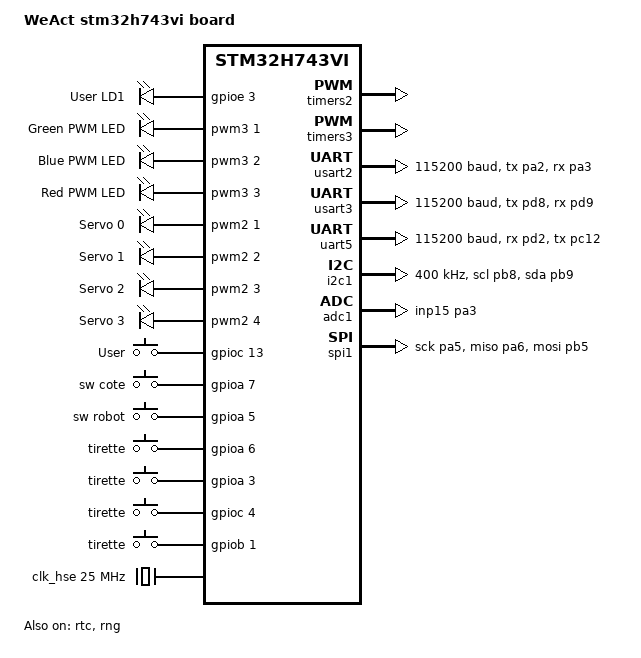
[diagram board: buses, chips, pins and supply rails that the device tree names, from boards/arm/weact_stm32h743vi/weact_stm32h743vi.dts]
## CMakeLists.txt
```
zephyr_include_directories(include)

# add_subdirectory(drivers)
```

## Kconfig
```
# nothing now, will include rsource
# rsource "drivers/Kconfig"
```

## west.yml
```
# Copyright (c) 2021 Nordic Semiconductor ASA
# SPDX-License-Identifier: Apache-2.0

manifest:
  remotes:
    - name: zephyrproject-rtos
      url-base: https://github.com/zephyrproject-rtos

  projects:
    - name: zephyr
      remote: zephyrproject-rtos
      revision: v3.6-branch
      import:
        # By using name-allowlist we can clone only the modules that are
        # strictly needed by the application.
        name-allowlist:
          - cmsis      # required by the ARM port
          - cmsis-dsp
          - hal_stm32
          - zcbor
```

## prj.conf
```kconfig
# SERIAL
CONFIG_SERIAL=y
CONFIG_LOG=y
# CONFIG_LOG_MODE_DEFERRED=y
CONFIG_LOG_MODE_IMMEDIATE=y
CONFIG_LOG_BACKEND_SHOW_COLOR=y
CONFIG_LOG_DEFAULT_LEVEL=4
CONFIG_UART_INTERRUPT_DRIVEN=y
CONFIG_LOG_BUFFER_SIZE=4096
# MATH
CONFIG_FPU=y
CONFIG_FPU_SHARING=y
CONFIG_NEWLIB_LIBC=y
CONFIG_NEWLIB_LIBC_FLOAT_PRINTF=y

CONFIG_TEST_RANDOM_GENERATOR=y

CONFIG_PWM=y
CONFIG_PWM_LOG_LEVEL_DBG=y
```

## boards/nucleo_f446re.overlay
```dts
/ {
    aliases {
        console = &usart2;
        stepper-bus = &uart5;
        camsense-uart = &usart1;
        sw-side = &button0;
        sw-robot = &button1;
        sw-tirette = &button2;
        sw-pump = &button3;
        sw-valve = &button4;
        sw-electromagnet = &button5;
        red-pwm-led = &red_pwm_led;
        green-pwm-led = &green_pwm_led;
        blue-pwm-led = &blue_pwm_led;
        servo-orientation = &servo_0;
        servo-arm = &servo_1;
        servo-dicristaline1 = &servo_2;
        servo-dicristaline2 = &servo_3;
        sw-power = &button6;
    };

    gpio_keys {
        compatible = "gpio-keys";
        button0: button_0 {
            gpios = <&gpioa 15 GPIO_ACTIVE_HIGH>;
            label = "sw cote";
        };
        button1: button_1 {
            gpios = <&gpioc 13 GPIO_ACTIVE_HIGH>;
            label = "sw robot";
        };
        button2: button_2 {
            gpios = <&gpioc 9 GPIO_ACTIVE_HIGH>;
            label = "tirette";
        };
        button3: button_3 {
            gpios = <&gpiob 3 GPIO_ACTIVE_HIGH>;
            label = "tirette";
        };
        button4: button_4 {
            gpios = <&gpiob 1 GPIO_ACTIVE_HIGH>;
            label = "tirette";
        };
        button5: button_5 {
            gpios = <&gpioc 4 GPIO_ACTIVE_HIGH>;
            label = "tirette";
        };
        button6: button_6 {
            gpios = <&gpiob 13 GPIO_ACTIVE_HIGH>;
            label = "tirette";
        };
    };

    pwmleds {
        compatible = "pwm-leds";
        green_pwm_led: green_pwm_led {
            pwms = <&pwm1 1 0 PWM_POLARITY_NORMAL>;
            label = "Green PWM LED";
            status = "okay";
        };
        blue_pwm_led: blue_pwm_led {
            pwms = <&pwm3 1 0 PWM_POLARITY_NORMAL>;
            label = "Blue PWM LED";
            status = "okay";
        };
        red_pwm_led: red_pwm_led {
            pwms = <&pwm3 2 0 PWM_POLARITY_NORMAL>;
            label = "Red PWM LED";
            status = "okay";
        };
        servo_0: servo_0 {
            pwms = <&pwm3 3 20000000 PWM_POLARITY_NORMAL>;
            label = "Servo 0";
            status = "okay";
        };
        servo_1: servo_1 {
			pwms = <&pwm2 1 20000000 PWM_POLARITY_NORMAL>;
			label = "Servo 1";
			status = "okay";
		};
        servo_2: servo_2 {
			pwms = <&pwm2 2 20000000 PWM_POLARITY_NORMAL>;
			label = "Servo 2";
			status = "okay";
		};
		servo_3: servo_3 {
			pwms = <&pwm2 3 20000000 PWM_POLARITY_NORMAL>;
			label = "Servo 3";
			status = "okay";
		};
	};
};

&timers1 {
    st,prescaler = <128>;
    status = "okay";

    pwm1: pwm {
        compatible = "st,stm32-pwm";
        status = "okay";
        pinctrl-0 = <&tim1_ch1_pa8>;
        pinctrl-names = "default";
		label = "PWMS_1";
		#pwm-cells = <3>;
    };
};

&timers2 {
    st,prescaler = <128>;
    status = "okay";

	pwm2: pwm {
        compatible = "st,stm32-pwm";
		status = "okay";
		pinctrl-0 = <&tim2_ch1_pb8 &tim2_ch2_pb9 &tim2_ch3_pb10>;
		pinctrl-names = "default";
		label = "PWMS_2";
		#pwm-cells = <3>;
	};
};

&timers3 {
    st,prescaler = <128>;
    status = "okay";

    pwm3: pwm {
        compatible = "st,stm32-pwm";
        status = "okay";
        pinctrl-0 = <&tim3_ch1_pb4 &tim3_ch2_pb5 &tim3_ch4_pc9>;
        pinctrl-names = "default";
		label = "PWMS_3";
		#pwm-cells = <3>;
    };
};

&usart1 {
    pinctrl-0 = <&usart1_tx_pa9 &usart1_rx_pa10>;
    pinctrl-names = "default";
    current-speed = <115200>;
    status = "okay";
};

&usart2 {
    status = "okay";
    current-speed = < 115200 >;
};

&uart5 {
    status = "okay";
    current-speed = < 115200 >;
    pinctrl-0 = < &uart5_rx_pd2 &uart5_tx_pc12 >;
    pinctrl-names = "default";
    // single-wire;
};

&i2c1 {
    status = "disabled";
};
```

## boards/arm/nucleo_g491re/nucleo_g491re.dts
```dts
/*
 * Copyright (c) 2019 Richard Osterloh <richard.osterloh@gmail.com>
 *
 * SPDX-License-Identifier: Apache-2.0
 */

/dts-v1/;
#include <st/g4/stm32g491Xe.dtsi>
#include <st/g4/stm32g491r(c-e)tx-pinctrl.dtsi>
#include "arduino_r3_connector.dtsi"

/ {
	model = "STMicroelectronics STM32G491RE-NUCLEO board";
	compatible = "st,stm32g491re-nucleo";

	chosen {
		zephyr,console = &lpuart1;
		zephyr,shell-uart = &lpuart1;
		zephyr,sram = &sram0;
		zephyr,flash = &flash0;
	};

	leds {
		compatible = "gpio-leds";
		green_led: led_0 {
			gpios = <&gpioa 5 GPIO_ACTIVE_HIGH>;
			label = "User LD2";
		};
	};

	pwmleds {
		compatible = "pwm-leds";

		green_pwm_led: green_pwm_led {
			pwms = <&pwm2 1 PWM_MSEC(20) PWM_POLARITY_NORMAL>;
		};
	};

	gpio_keys {
		compatible = "gpio-keys";
		user_button: button {
			label = "User";
			gpios = <&gpioc 13 GPIO_ACTIVE_LOW>;
		};
	};

	aliases {
		led0 = &green_led;
		pwm-led0 = &green_pwm_led;
		sw0 = &user_button;
	};
};

&clk_hse {
	clock-frequency = <DT_FREQ_M(24)>;
	status = "okay";
};

&pll {
	div-m = <6>;
	mul-n = <85>;
	div-p = <7>;
	div-q = <2>;
	div-r = <2>;
	clocks = <&clk_hse>;
	status = "okay";
};

&rcc {
	clocks = <&pll>;
	clock-frequency = <DT_FREQ_M(170)>;
	ahb-prescaler = <1>;
	apb1-prescaler = <1>;
	apb2-prescaler = <1>;
};

&usart1 {
	pinctrl-0 = <&usart1_tx_pc4 &usart1_rx_pc5>;
	pinctrl-names = "default";
	current-speed = <115200>;
	status = "okay";
};

&lpuart1 {
	pinctrl-0 = <&lpuart1_tx_pa2 &lpuart1_rx_pa3>;
	pinctrl-names = "default";
	current-speed = <115200>;
	status = "okay";
};

&i2c1 {
	pinctrl-0 = <&i2c1_scl_pb8 &i2c1_sda_pb9>;
	pinctrl-names = "default";
	status = "okay";
};

&spi1 {
	pinctrl-0 = <&spi1_sck_pa5 &spi1_miso_pa6 &spi1_mosi_pa7>;
	pinctrl-names = "default";
	cs-gpios = <&gpiob 6 (GPIO_ACTIVE_LOW | GPIO_PULL_UP)>;
	status = "okay";
};

&spi2 {
	pinctrl-0 = <&spi2_nss_pb12 &spi2_sck_pb13
		     &spi2_miso_pb14 &spi2_mosi_pb15>;
	pinctrl-names = "default";
	status = "okay";
};

&spi3 {
	/* SPI3 on the ST Morpho Connector CN7 pins 17, 1, 2, 3*/
	pinctrl-0 = <&spi3_nss_pa15 &spi3_sck_pc10
		     &spi3_miso_pc11 &spi3_mosi_pc12>;
	pinctrl-names = "default";
	status = "okay";
};

&timers2 {
	status = "okay";

	pwm2: pwm {
		status = "okay";
		pinctrl-0 = <&tim2_ch1_pa5>;
		pinctrl-names = "default";
	};
};

&rtc {
	status = "okay";
};

&flash0 {

	partitions {
		compatible = "fixed-partitions";
		#address-cells = <1>;
		#size-cells = <1>;

		/* Set 4Kb of storage at the end of the 128Kb of flash */
		storage_partition: partition@1f000 {
			label = "storage";
			reg = <0x0001f000 DT_SIZE_K(4)>;
		};
	};
};

&iwdg {
	status = "okay";
};

&dac1 {
	status = "okay";
	pinctrl-0 = <&dac1_out1_pa4>;
	pinctrl-names = "default";
};
```

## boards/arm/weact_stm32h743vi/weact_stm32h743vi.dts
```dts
/*
 * Copyright (c) 2020 Teslabs Engineering S.L.
 *
 * SPDX-License-Identifier: Apache-2.0
 */

/dts-v1/;
#include <st/h7/stm32h743Xi.dtsi>
#include <st/h7/stm32h743vitx-pinctrl.dtsi>

/ {
	model = "WeAct stm32h743vi board";
	compatible = "st,weact_stm32h743vi";

	chosen {
		zephyr,console = &usart3;
		zephyr,shell-uart = &usart3;
		zephyr,sram = &sram0;
		zephyr,flash = &flash0;
		zephyr,dtcm = &dtcm;
	};

	leds {
		compatible = "gpio-leds";
		blue_led: led_0 {
			gpios = <&gpioe 3 GPIO_ACTIVE_HIGH>;
			label = "User LD1";
		};
	};

	pwmleds {
		compatible = "pwm-leds";
		green_pwm_led: green_pwm_led {
			pwms = <&pwm3 1 0 PWM_POLARITY_NORMAL>;
			label = "Green PWM LED";
			status = "okay";
		};
		blue_pwm_led: blue_pwm_led {
			pwms = <&pwm3 2 0 PWM_POLARITY_NORMAL>;
			label = "Blue PWM LED";
			status = "okay";
		};
		red_pwm_led: red_pwm_led {
			pwms = <&pwm3 3 0 PWM_POLARITY_NORMAL>;
			label = "Red PWM LED";
			status = "okay";
		};
        servo_0: servo_0 {
            pwms = <&pwm2 1 20000000 PWM_POLARITY_NORMAL>;
            label = "Servo 0";
            status = "okay";
        };
        servo_1: servo_1 {
			pwms = <&pwm2 2 20000000 PWM_POLARITY_NORMAL>;
			label = "Servo 1";
			status = "okay";
		};
        servo_2: servo_2 {
			pwms = <&pwm2 3 20000000 PWM_POLARITY_NORMAL>;
			label = "Servo 2";
			status = "okay";
		};
		servo_3: servo_3 {
			pwms = <&pwm2 4 20000000 PWM_POLARITY_NORMAL>;
			label = "Servo 3";
			status = "okay";
		};
	};


    gpio_keys {
		status = "okay";
		user_button: button_user {
			label = "User";
			gpios = <&gpioc 13 GPIO_ACTIVE_HIGH>;
		};
        compatible = "gpio-keys";
        button0: button_0 {
            gpios = <&gpioa 7 GPIO_ACTIVE_HIGH>;
            label = "sw cote";
        };
        button1: button_1 {
            gpios = <&gpioa 5 GPIO_ACTIVE_HIGH>;
            label = "sw robot";
        };
        button2: button_2 {
            gpios = <&gpioa 6 GPIO_ACTIVE_HIGH>;
            label = "tirette";
        };
        button3: button_3 {
            gpios = <&gpioa 3 GPIO_ACTIVE_HIGH>;
            label = "tirette";
        };
        button4: button_4 {
            gpios = <&gpioc 4 GPIO_ACTIVE_HIGH>;
            label = "tirette";
        };
        button5: button_5 {
            gpios = <&gpiob 1 GPIO_ACTIVE_HIGH>;
            label = "tirette";
        };
    };

	aliases {
		led0 = &blue_led;
		sw0 = &user_button;
		camsense-uart = &usart2;
		stepper-bus = &uart5;
		red-pwm-led = &red_pwm_led;
		green-pwm-led = &green_pwm_led;
		blue-pwm-led = &blue_pwm_led;
		sw-cote = &button0;
        sw-robot = &button1;
        sw-tirette = &button2;
        sw-pump = &button3;
        sw-valve = &button4;
        sw-electromagnet = &button5;
		servo-orientation = &servo_0;
        servo-arm = &servo_1;
        servo-dicristaline1 = &servo_2;
        servo-dicristaline2 = &servo_3;
	};
};

&timers2 {
	st,prescaler = <0>;
    status = "okay";

	pwm2: pwm {
		status = "okay";
		pinctrl-0 = <&tim2_ch1_pa15 &tim2_ch2_pa1 &tim2_ch3_pb10 &tim2_ch4_pb11>;
		pinctrl-names = "default";
	};
};

&timers3 {
	st,prescaler = <0>;
	status = "okay";

	pwm3: pwm {
		status = "okay";
		pinctrl-0 = <&tim3_ch1_pb4 &tim3_ch2_pb5 &tim3_ch4_pc9>;
		pinctrl-names = "default";
	};
};


&clk_hse {
	clock-frequency = <DT_FREQ_M(25)>;
	status = "okay";
};

&clk_lse {
	status = "okay";
};

&pll {
	div-m = <5>;
	mul-n = <192>;
	div-p = <2>;
	div-q = <2>;
	div-r = <2>;
	clocks = <&clk_hse>;
	status = "okay";
};

&rcc {
	clocks = <&pll>;
	clock-frequency = <DT_FREQ_M(480)>;
	d1cpre = <1>;
	hpre = <2>;
	d1ppre = <2>;
	d2ppre1 = <2>;
	d2ppre2 = <2>;
	d3ppre = <2>;
};

&usart2 {
	pinctrl-0 = <&usart2_tx_pa2 &usart2_rx_pa3>;
	pinctrl-names = "default";
	current-speed = <115200>;
	status = "okay";
};


&usart3 {
	pinctrl-0 = <&usart3_tx_pd8 &usart3_rx_pd9>;
	pinctrl-names = "default";
	current-speed = <115200>;
	status = "okay";
};

&uart5 {
    status = "okay";
    current-speed = < 115200 >;
    pinctrl-0 = < &uart5_rx_pd2 &uart5_tx_pc12 >;
    pinctrl-names = "default";
    single-wire;
};

&rtc {
	status = "okay";
};

&i2c1 {
	pinctrl-0 = <&i2c1_scl_pb8 &i2c1_sda_pb9>;
	pinctrl-names = "default";
	status = "okay";
	clock-frequency = <I2C_BITRATE_FAST>;
};

&adc1 {
	pinctrl-0 = <&adc1_inp15_pa3>;
	pinctrl-names = "default";
	status = "okay";
};

&rng {
	status = "okay";
};

&spi1 {
	status = "okay";
	pinctrl-names = "default";
	pinctrl-0 = <&spi1_sck_pa5 &spi1_miso_pa6 &spi1_mosi_pb5>;
};
```

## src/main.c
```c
#include <device.h>
#include <devicetree.h>
#include <zephyr.h>

#include "control/control.h"
#include "coords.h"
#include "figurine_lifter/figurine_lifter.h"
#include "hmi/hmi_led.h"
#include "kernel.h"
#include "lidar/camsense_x1/camsense_x1.h"
#include "nav/obstacle_manager.h"
#include "nav/path_manager.h"
#include "pokarm/pokarm.h"
#include "pokibrain/pokibrain.h"
#include "shared.h"
#include "tirette/tirette.h"
#include "tmc2209/tmc2209.h"
#include "utils.h"
#include <drivers/gpio.h>
#include <logging/log.h>

LOG_MODULE_REGISTER(main);

// #error on callback before decimation check collisions

void collision_callback(bool collision) {
    if (collision) {
        LOG_INF("Collision detected");
    }
    shared_ctrl.brake = collision;
}

void end_game_callback(void) {
    LOG_INF("MATCH IS OVER");
    camsense_x1_kill();
    obstacle_manager_kill();
    shared_ctrl.brake = true;
    pokarm_up();
    figurine_lifter_up_inside();
    k_sleep(K_MSEC(100));
    k_sched_lock();
    while (1) {
    }
}

#define MAX_PATH_SIZE 1000
point2_t path[MAX_PATH_SIZE];
uint16_t path_size = 0;
void path_found_clbk(const path_node_t* node, void* user_data) {
    path_size = path_manager_retrieve_path(path, MAX_PATH_SIZE, NULL, node);
    if (path_size == 0) {
        LOG_ERR("Path not correctly retrived");
    }
}

int go_to_with_pathfinding(pos2_t end_pos) {
    LOG_INF("Lauching pathfinding");
    path_manager_config_t path_config;
    path_config.found_path_clbk = path_found_clbk;
    path_config.nb_node_optimisation = 50;
    path_size = 0;
    pos2_t start_pos;
    control_get_pos(&shared_ctrl, &start_pos);
    point2_t start;
    start.x = start_pos.x;
    start.y = start_pos.y;

    point2_t end;
    end.x = end_pos.x;
    end.y = end_pos.y;

    LOG_INF("From x:%f, y:%f |To x:%f, y:%f", start.x, start.y, end.x, end.y);

    uint8_t err = path_manager_find_path(start, end, path_config);
    if (err) {
        LOG_ERR("problem when launching pathfinding %u", err);
        return -1;
    }
    LOG_INF("Waiting for path to be found");
    for (size_t i = 0; i < 20000; i++) {
        k_sleep(K_MSEC(1));
        if (path_size != 0) {
            break;
        }
    }
    if (path_size == 0) {
        LOG_WRN("No path found");
        return -2;
    }

    LOG_INF("Path found of size %u", path_size);
    for (int16_t i = path_size - 1; i >= 0; i--) {
        pos2_t next_pos;
        next_pos.a = start_pos.a;
        next_pos.x = path[i].x;
        next_pos.y = path[i].y;
        LOG_INF("Go to point %d, x: %f, y: %f", i, next_pos.x, next_pos.y);
        control_set_target(&shared_ctrl, next_pos);
        control_task_wait_target(100.0f, M_PI / 4.0f, 10000);
    }
    control_task_wait_target(CONTROL_PLANAR_TARGET_SENSITIVITY_DEFAULT,
        CONTROL_ANGULAR_TARGET_SENSITIVITY_DEFAULT, 10000);
    return 0;
}


void match_init() {
    LOG_INF("MATCH INIT");
    // hmi_led_init();
    // hmi_led_error();
    static const struct gpio_dt_spec led =
        GPIO_DT_SPEC_GET(DT_ALIAS(led0), gpios);
    static const struct gpio_dt_spec sw_side =
        GPIO_DT_SPEC_GET(DT_ALIAS(sw_side), gpios);
    static const struct gpio_dt_spec sw_power =
        GPIO_DT_SPEC_GET(DT_ALIAS(sw_power), gpios);
        
    obstacle_manager_init(collision_callback);
    int ret = gpio_pin_configure_dt(&led, GPIO_OUTPUT_ACTIVE);
    if (ret < 0) {
        LOG_ERR("failed to init led");
        goto exit;
    }
    ret = gpio_pin_configure_dt(&sw_power, GPIO_INPUT);
    if (ret < 0) {
        LOG_ERR("failed to init led");
        goto exit;
    }
    if (shared_init()) {
        LOG_ERR("failed to init shared objects");
        ret = -1;
        goto exit;
    }
    if (tirette_init()) {
        LOG_ERR("failed to init tirette");
        ret = -1;
        goto exit;
    }
    if (pokarm_init()) {
        LOG_ERR("failed to init pokarm");
        ret = -1;
        goto exit;
    }
    if (figurine_lifter_init()) {
        LOG_ERR("failed to init figurine_lifter");
        ret = -1;
        goto exit;
    }
    if (!device_is_ready(led.port)) {
        LOG_ERR("failed to init led");
        goto exit;
    }
    pokarm_up();
    figurine_lifter_up_inside();
    pokibrain_init(NULL, 0, NULL, end_game_callback);
    LOG_INF("MATCH INIT DONE");
exit:
    return;
}

void match_wait_start() {
    LOG_INF("MATCH WAIT FOR TASKS AND POWER");
    static const struct gpio_dt_spec led =
        GPIO_DT_SPEC_GET(DT_ALIAS(led0), gpios);
    static const struct gpio_dt_spec sw_side =
        GPIO_DT_SPEC_GET(DT_ALIAS(sw_side), gpios);
    static const struct gpio_dt_spec sw_power =
        GPIO_DT_SPEC_GET(DT_ALIAS(sw_power), gpios);
    while (!gpio_pin_get_dt(&sw_power))
    {
        k_sleep(K_MSEC(1));
    }
    LOG_INF("POWER IS UP!");
    shared_ctrl.start_init = true;

    LOG_INF("MATCH WAIT FOR TASKS");
    control_task_wait_ready();

    k_sleep(K_MSEC(500));
    hmi_led_success();

    LOG_INF("MATCH WAIT FOR STARTER KEY");
    tirette_wait_until_released();
}

void match_1() {
    LOG_INF("MATCH INIT");
    // hmi_led_init();
    // hmi_led_error();
    static const struct gpio_dt_spec led =
        GPIO_DT_SPEC_GET(DT_ALIAS(led0), gpios);
    static const struct gpio_dt_spec sw_side =
        GPIO_DT_SPEC_GET(DT_ALIAS(sw_side), gpios);
    static const struct gpio_dt_spec sw_power =
        GPIO_DT_SPEC_GET(DT_ALIAS(sw_power), gpios);

    obstacle_manager_init(collision_callback);
    int ret = gpio_pin_configure_dt(&led, GPIO_OUTPUT_ACTIVE);
    if (ret < 0) {
        LOG_ERR("failed to init led");
        goto exit;
    }
    ret = gpio_pin_configure_dt(&sw_power, GPIO_INPUT);
    if (ret < 0) {
        LOG_ERR("failed to init led");
        goto exit;
    }
    if (shared_init()) {
        LOG_ERR("failed to init shared objects");
        ret = -1;
        goto exit;
    }
    if (tirette_init()) {
        LOG_ERR("failed to init tirette");
        ret = -1;
        goto exit;
    }
    if (pokarm_init()) {
        LOG_ERR("failed to init pokarm");
        ret = -1;
        goto exit;
    }
    if (figurine_lifter_init()) {
        LOG_ERR("failed to init figurine_lifter");
        ret = -1;
        goto exit;
    }
    if (!device_is_ready(led.port)) {
        LOG_ERR("failed to init led");
        goto exit;
    }
    pokarm_up();
    figurine_lifter_up_inside();
    pokibrain_init(NULL, 0, NULL, end_game_callback);
    LOG_INF("MATCH INIT DONE");
    LOG_INF("MATCH WAIT FOR TASKS AND POWER");

    while (!gpio_pin_get_dt(&sw_power)) {
        k_sleep(K_MSEC(1));
    }
    LOG_INF("POWER IS UP!");
    shared_ctrl.start_init = true;

    LOG_INF("MATCH WAIT FOR TASKS");
    control_task_wait_ready();

    k_sleep(K_MSEC(500));
    hmi_led_success();

    LOG_INF("MATCH WAIT FOR STARTER KEY");
    tirette_wait_until_released();
    LOG_INF("MATCH START");
    pokibrain_start();
    k_sleep(
        K_MSEC(1000)); // delay before going away not to let the key halfway in
    shared_ctrl.start = true;
    int side = gpio_pin_get_dt(&sw_side);
    LOG_INF("side= %d", side);

    LOG_INF("go to target 1");
    pos2_t dst_1 = {770.0f, 350.0f, 0.5f * M_PI};
    if (side == SIDE_YELLOW) {
        dst_1.x = -dst_1.x;
        dst_1.a = -dst_1.a;
    }
    control_set_target(&shared_ctrl, dst_1);
    for (int i = 0; i < 200; i++) {
        gpio_pin_toggle(led.port, led.pin);
        k_sleep(K_MSEC(100));
    }

    LOG_INF("go to target 2");
    pos2_t dst_2 = {770.0f, 640.0f, 0.5f * M_PI};
    if (side == SIDE_YELLOW) {
        dst_2.x = -dst_2.x;
        dst_2.a = -dst_2.a;
    }
    control_set_target(&shared_ctrl, dst_2);
    for (int i = 0; i < 40; i++) {
        gpio_pin_toggle(led.port, led.pin);
        k_sleep(K_MSEC(100));
    }
    LOG_INF("sending pokarm out");
    pokarm_pos_put_haxagone_display();
    k_sleep(K_MSEC(1000));

    LOG_INF("go to target 3");
    pos2_t dst_3 = {950.0f, 700.0f, 0.5f * M_PI};
    // pos2_t dst_3 = {0.0f, 0.0f, 100.0f * M_PI};
    if (side == SIDE_YELLOW) {
        dst_3.x = -dst_3.x;
        dst_3.a = -dst_3.a;
    }
    control_set_target(&shared_ctrl, dst_3);
    for (int i = 0; i < 200; i++) {
        gpio_pin_toggle(led.port, led.pin);
        k_sleep(K_MSEC(100));
    }
exit:
    LOG_INF("MATCH DONE (ret: %d)", ret);
    return;
}

void match_2() {
    LOG_INF("MATCH INIT");
    // hmi_led_init();
    // hmi_led_error();
    static const struct gpio_dt_spec led =
        GPIO_DT_SPEC_GET(DT_ALIAS(led0), gpios);
    static const struct gpio_dt_spec sw_side =
        GPIO_DT_SPEC_GET(DT_ALIAS(sw_side), gpios);
    static const struct gpio_dt_spec sw_power =
        GPIO_DT_SPEC_GET(DT_ALIAS(sw_power), gpios);

    obstacle_manager_init(collision_callback);
    int ret = gpio_pin_configure_dt(&led, GPIO_OUTPUT_ACTIVE);
    if (ret < 0) {
        LOG_ERR("failed to init led");
        goto exit;
    }
    ret = gpio_pin_configure_dt(&sw_power, GPIO_INPUT);
    if (ret < 0) {
        LOG_ERR("failed to init led");
        goto exit;
    }
    if (shared_init()) {
        LOG_ERR("failed to init shared objects");
        ret = -1;
        goto exit;
    }
    if (tirette_init()) {
        LOG_ERR("failed to init tirette");
        ret = -1;
        goto exit;
    }
    if (pokarm_init()) {
        LOG_ERR("failed to init pokarm");
        ret = -1;
        goto exit;
    }
    if (figurine_lifter_init()) {
        LOG_ERR("failed to init figurine_lifter");
        ret = -1;
        goto exit;
    }
    if (!device_is_ready(led.port)) {
        LOG_ERR("failed to init led");
        goto exit;
    }
    pokarm_up();
    figurine_lifter_up_inside();
    pokibrain_init(NULL, 0, NULL, end_game_callback);
    LOG_INF("MATCH INIT DONE");
    LOG_INF("MATCH WAIT FOR TASKS AND POWER");

    while (!gpio_pin_get_dt(&sw_power)) {
        k_sleep(K_MSEC(1));
    }
    LOG_INF("POWER IS UP!");
    shared_ctrl.start_init = true;

    LOG_INF("MATCH WAIT FOR TASKS");
    control_task_wait_ready();

    k_sleep(K_MSEC(500));
    hmi_led_success();

    LOG_INF("MATCH WAIT FOR STARTER KEY");
    tirette_wait_until_released();
    LOG_INF("MATCH START");
    pokibrain_start();
    k_sleep(
        K_MSEC(1000)); // delay before going away not to let the key halfway in
    shared_ctrl.start = true;
    int side = gpio_pin_get_dt(&sw_side);
    LOG_INF("side= %d", side);

    LOG_INF("go to target 1");
    pos2_t dst_1 = {770.0f, 350.0f, 0.5f * M_PI};
    if (side == SIDE_YELLOW) {
        dst_1.x = -dst_1.x;
        dst_1.a = -dst_1.a;
    }
    control_set_target(&shared_ctrl, dst_1);
    for (int i = 0; i < 100; i++) {
        gpio_pin_toggle(led.port, led.pin);
        k_sleep(K_MSEC(100));
    }

    LOG_INF("go to target 2");
    pos2_t dst_2 = {770.0f, 640.0f, 0.5f * M_PI};
    if (side == SIDE_YELLOW) {
        dst_2.x = -dst_2.x;
        dst_2.a = -dst_2.a;
    }
    control_set_target(&shared_ctrl, dst_2);
    for (int i = 0; i < 40; i++) {
        gpio_pin_toggle(led.port, led.pin);
        k_sleep(K_MSEC(100));
    }
    LOG_INF("sending pokarm out");
    pokarm_pos_put_haxagone_display();
    k_sleep(K_MSEC(1000));

    LOG_INF("go to target 3");
    pos2_t dst_3 = {955.0f, 700.0f, 0.5f * M_PI};
    if (side == SIDE_YELLOW) {
        dst_3.x = -dst_3.x;
        dst_3.a = -dst_3.a;
    }
    control_set_target(&shared_ctrl, dst_3);
    for (int i = 0; i < 100; i++) {
        gpio_pin_toggle(led.port, led.pin);
        k_sleep(K_MSEC(100));
    }

    LOG_INF("go back to target 2");
    pokarm_up();
    control_set_target(&shared_ctrl, dst_2);
    for (int i = 0; i < 100; i++) {
        gpio_pin_toggle(led.port, led.pin);
        k_sleep(K_MSEC(100));
    }

    LOG_INF("go back to target 1");
    control_set_target(&shared_ctrl, dst_1);
    for (int i = 0; i < 100; i++) {
        gpio_pin_toggle(led.port, led.pin);
        k_sleep(K_MSEC(100));
    }

    LOG_INF("go back to home");
    pos2_t dst_home = {-60.0f, 0.0f, 0.0f * M_PI};
    if (side == SIDE_YELLOW) {
        dst_home.x = -dst_home.x;
        dst_home.a = -dst_home.a;
    }
    control_set_target(&shared_ctrl, dst_home);
    for (int i = 0; i < 100; i++) {
        gpio_pin_toggle(led.port, led.pin);
        k_sleep(K_MSEC(100));
    }
    shared_ctrl.brake = true;
    k_sleep(K_MSEC(100));
    k_sched_lock();
    while (1) {
    }
exit:
    LOG_INF("MATCH DONE (ret: %d)", ret);
    return;
}

void match_3() {
    int ret = 0;
    static const struct gpio_dt_spec led =
        GPIO_DT_SPEC_GET(DT_ALIAS(led0), gpios);
    static const struct gpio_dt_spec sw_side =
        GPIO_DT_SPEC_GET(DT_ALIAS(sw_side), gpios);
    static const struct gpio_dt_spec sw_power =
        GPIO_DT_SPEC_GET(DT_ALIAS(sw_power), gpios);

    match_init();
    match_wait_start();

    LOG_INF("MATCH START");
    pokibrain_start();
    int side = gpio_pin_get_dt(&sw_side);
    LOG_INF("side= %d", side);
    pos2_t start_pos = TRANSFORM_SIDE(side, COORDS_START);
    pos2_t target = start_pos;
    bool at_target = false;
    control_set_pos(&shared_ctrl, start_pos);
    control_set_target(&shared_ctrl, start_pos);

    k_sleep(K_MSEC(500)); // delay before going away not to let the key halfway in
    shared_ctrl.start = true;

    LOG_INF("go to carre de fouille");
    target = TRANSFORM_SIDE(side, COORDS_CARREFOUILLE_B1);
    control_set_target(&shared_ctrl, target);
    at_target = control_task_wait_target(30.0f, DEG_TO_RAD(10.0f), 20000);
    if (!at_target) {
        LOG_INF("abort carrefouille b1");
        goto end_carrefouille;
    }
    target = TRANSFORM_SIDE(side, COORDS_CARREFOUILLE_B2);
    control_set_target(&shared_ctrl, target);
    at_target = control_task_wait_target(30.0f, DEG_TO_RAD(10.0f), 10000);
    if (!at_target) {
        LOG_INF("abort carrefouille b2");
        goto end_carrefouille;
    }
    target = TRANSFORM_SIDE(side, COORDS_CARREFOUILLE_B3);
    control_set_target(&shared_ctrl, target);
    at_target = control_task_wait_target(30.0f, DEG_TO_RAD(10.0f), 10000);
    if (!at_target) {
        LOG_INF("abort carrefouille b3");
        goto end_carrefouille;
    }
    pokarm_pos_put_haxagone_display();
    target = TRANSFORM_SIDE(side, COORDS_CARREFOUILLE);
    control_set_target(&shared_ctrl, target);
    at_target = control_task_wait_target_default(10000);
    if (!at_target) {
        LOG_INF("abort carrefouille target");
        goto end_carrefouille;
    }
end_carrefouille:
    pokarm_up();
    k_sleep(K_MSEC(500));
    target = TRANSFORM_SIDE(side, COORDS_CARREFOUILLE_A1);
    control_set_target(&shared_ctrl, target);
    at_target = control_task_wait_target_default(10000);
    if (!at_target) {
        LOG_INF("abort carrefouille a1");
    }

    LOG_INF("go to statuette");
    target = TRANSFORM_SIDE(side, COORDS_STATUETTE);
    control_set_target(&shared_ctrl, target);
    at_target = control_task_wait_target_default(20000);
    if (!at_target) {
        LOG_INF("abort statuette target");
        goto end_statuette;
    }
    figurine_lifter_grab();
    LOG_INF("go to vitrine");
    target = TRANSFORM_SIDE(side, COORDS_VITRINE_B1);
    control_set_target(&shared_ctrl, target);
    at_target = control_task_wait_target_default(30000);
    if (!at_target) {
        LOG_INF("abort statuette target");
        goto end_statuette;
    }
    target = TRANSFORM_SIDE(side, COORDS_VITRINE);
    control_set_target(&shared_ctrl, target);
    at_target = control_task_wait_target_default(10000);
    if (!at_target) {
        LOG_INF("abort statuette target");
        goto end_statuette;
    }
end_statuette:
    figurine_lifter_put();
    figurine_lifter_up_inside();

    LOG_INF("go to home");
    target = TRANSFORM_SIDE(side, COORDS_HOME);
    control_set_target(&shared_ctrl, target);
    at_target = control_task_wait_target(50.0f, DEG_TO_RAD(20.0f), 20000);
    while(1);

exit:
    end_game_callback();
    LOG_INF("MATCH DONE (ret: %d)", ret);
    return;
}

void test_match() {
    int ret = 0;
    static const struct gpio_dt_spec led =
        GPIO_DT_SPEC_GET(DT_ALIAS(led0), gpios);
    static const struct gpio_dt_spec sw_side =
        GPIO_DT_SPEC_GET(DT_ALIAS(sw_side), gpios);
    static const struct gpio_dt_spec sw_power =
        GPIO_DT_SPEC_GET(DT_ALIAS(sw_power), gpios);

    match_init();
    match_wait_start();

    LOG_INF("MATCH START");
    pokibrain_start();
    int side = gpio_pin_get_dt(&sw_side);
    LOG_INF("side= %d", side);
    pos2_t start_pos = TRANSFORM_SIDE(side, COORDS_START);
    pos2_t target = start_pos;
    bool at_target = false;
    // control_set_pos(&shared_ctrl, (pos2_t){.x = 0.0f, .y = 0.0f, .a = 0.0f});
    // control_set_target(&shared_ctrl, (pos2_t){.x = 0.0f, .y = 0.0f, .a = 0.0f});
    control_set_pos(&shared_ctrl, start_pos);
    control_set_target(&shared_ctrl, start_pos);

    k_sleep(K_MSEC(500)); // delay before going away not to let the key halfway in
    shared_ctrl.start = true;

    LOG_INF("go to center");
    pos2_t center = (pos2_t){.x = 0.0f, .y = 1000.0f + OFFSET_WHEEL_EXTERNAL_PROJECTION, .a = 0.0f};
    target = TRANSFORM_SIDE(side, center);
    control_set_target(&shared_ctrl, target);
    at_target = control_task_wait_target_default(20000);
    if (!at_target) {
        LOG_INF("abort");
        goto exit;
    }
    pos2_t origin = (pos2_t){.x = 0.0f, .y = 0.0f, .a = 0.0f};
    target = TRANSFORM_SIDE(side, origin);
    control_set_target(&shared_ctrl, target);
    at_target = control_task_wait_target_default(10000);
    if (!at_target) {
        LOG_INF("abort");
        goto exit;
    }
    target = TRANSFORM_SIDE(side, COORDS_START);
    control_set_target(&shared_ctrl, target);
    at_target = control_task_wait_target_default(10000);
    if (!at_target) {
        LOG_INF("abort");
        goto exit;
    }

exit:
    pokarm_up();
    figurine_lifter_up_inside();
    shared_ctrl.brake = true;
    k_sleep(K_MSEC(1000));
    k_sched_lock();
    LOG_INF("MATCH DONE (ret: %d)", ret);
    while (1) {
    }
    return;
}

void _test_pathfinding() {
    LOG_INF("MATCH INIT");
    // hmi_led_init();
    // hmi_led_error();
    static const struct gpio_dt_spec led =
        GPIO_DT_SPEC_GET(DT_ALIAS(led0), gpios);
    static const struct gpio_dt_spec sw_side =
        GPIO_DT_SPEC_GET(DT_ALIAS(sw_side), gpios);
    static const struct gpio_dt_spec sw_power =
        GPIO_DT_SPEC_GET(DT_ALIAS(sw_power), gpios);

    obstacle_manager_init(collision_callback);
    int ret = gpio_pin_configure_dt(&led, GPIO_OUTPUT_ACTIVE);
    if (ret < 0) {
        LOG_ERR("failed to init led");
        goto exit;
    }
    ret = gpio_pin_configure_dt(&sw_power, GPIO_INPUT);
    if (ret < 0) {
        LOG_ERR("failed to init led");
        goto exit;
    }
    if (shared_init()) {
        LOG_ERR("failed to init shared objects");
        ret = -1;
        goto exit;
    }
    if (tirette_init()) {
        LOG_ERR("failed to init tirette");
        ret = -1;
        goto exit;
    }
    if (pokarm_init()) {
        LOG_ERR("failed to init pokarm");
        ret = -1;
        goto exit;
    }
    if (figurine_lifter_init()) {
        LOG_ERR("failed to init figurine_lifter");
        ret = -1;
        goto exit;
    }
    if (!device_is_ready(led.port)) {
        LOG_ERR("failed to init led");
        goto exit;
    }
    pokarm_up();
    figurine_lifter_up_inside();
    pokibrain_init(NULL, 0, NULL, end_game_callback);
    LOG_INF("MATCH INIT DONE");
    LOG_INF("MATCH WAIT FOR TASKS AND POWER");

    while (!gpio_pin_get_dt(&sw_power)) {
        k_sleep(K_MSEC(1));
    }
    LOG_INF("POWER IS UP!");
    shared_ctrl.start_init = true;

    LOG_INF("MATCH WAIT FOR TASKS");
    control_task_wait_ready();

    k_sleep(K_MSEC(500));
    hmi_led_success();

    LOG_INF("MATCH WAIT FOR STARTER KEY");
    tirette_wait_until_released();
    LOG_INF("MATCH START");
    pokibrain_start();
    // delay before going away not to let the key halfway in
    k_sleep(K_MSEC(1000));
    int side = gpio_pin_get_dt(&sw_side);
    LOG_DBG("side= %d", side);

    pos2_t start_pos = {1000.0f, 1000.0f, M_PI / 2};
    if (side == SIDE_YELLOW) {
        start_pos.x = -start_pos.x;
        start_pos.a = -start_pos.a;
    }
    pos2_t end_pos;
    end_pos.x = -start_pos.x;
    end_pos.y = start_pos.y;
    end_pos.a = start_pos.a;

    control_set_pos(&shared_ctrl, start_pos);
    shared_ctrl.start = true;

    for (size_t i = 0; i < 10; i++) {
        if (i % 2) {
            go_to_with_pathfinding(end_pos);
        } else {
            go_to_with_pathfinding(start_pos);
        }
    }

exit:
    LOG_INF("MATCH DONE (ret: %d)", ret);
    return;
}


int main(void) {
    LOG_INF("BOOTING");
    int ret = 0;

    // obstacle_manager_init(collision_callback);

    // pokarm_test();
    // wait for init

    // main thread

    // _test_gconf();
    // _test_motor_cmd();
    // _test_target();
    // _test_calibration_distance();
    // _test_calibration_angle();
    // _test_calibration_mix();
    // _test_connerie();
    // _test_pathfinding();

    // match_1();
    // match_2();
    match_3();
    // test_match();

exit:
    return ret;
}
```

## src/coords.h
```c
#ifndef COORDS_H
#define COORDS_H


#include "utils.h"

#define SIDE_YELLOW 0
#define SIDE_PURPLE 1

#define TRANSFORM_SIDE(_side, _pos) \
    (_side == SIDE_YELLOW ? TRANSFORM_YELLOW(_pos) : _pos)

#define TRANSFORM_YELLOW(_purple_coord) ((pos2_t){ \
        .x = - _purple_coord.x, \
        .y = _purple_coord.y, \
        .a = - _purple_coord.a})

#define OFFSET_EDGE 158.978f
#define OFFSET_SIDE 133.923f
#define OFFSET_WHEEL_EXTERNAL_FLAT (OFFSET_EDGE+22.0f)
#define OFFSET_WHEEL_EXTERNAL_PROJECTION (OFFSET_SIDE+38.8f)


#define COORDS_START ((pos2_t){ \
        .x = 1500.0f - OFFSET_EDGE, \
        .y = 1000.0f + OFFSET_WHEEL_EXTERNAL_PROJECTION, \
        .a = 0.5f * M_PI})

#define COORDS_HOME ((pos2_t){ \
        .x = 1300.0f - OFFSET_EDGE, \
        .y = 1300.0f + OFFSET_WHEEL_EXTERNAL_PROJECTION, \
        .a = -0.5f * M_PI})


#define COORDS_CARREFOUILLE ((pos2_t){ \
        .x = 647.5f, \
        .y = 0.0f + OFFSET_EDGE, \
        .a = 1.0f * M_PI})

#define COORDS_CARREFOUILLE_B1 ((pos2_t){ \
        .x = 925.0f, \
        .y = 575.0f, \
        .a = 1.0f * M_PI})

#define COORDS_CARREFOUILLE_B2 ((pos2_t){ \
        .x = 925.0f, \
        .y = 325.0f, \
        .a = 1.0f * M_PI})

#define COORDS_CARREFOUILLE_B3 ((pos2_t){ \
        .x = 647.5f, \
        .y = 325.0f, \
        .a = 1.0f * M_PI})

#define COORDS_CARREFOUILLE_A1 ((pos2_t){ \
        .x = 647.5f, \
        .y = 325.0f, \
        .a = (1.0f/2.0f-(1.0f/3.0f+1.0/6.0f+1.0f/12.0f)) * M_PI})


#define COORDS_VITRINE ((pos2_t){ \
        .x = 1500.0f - 345.0f - 130.0f, \
        .y = 2000.0f - OFFSET_WHEEL_EXTERNAL_FLAT, \
        .a = -(-1.0f/3.0f-1.0f/6.0f) * M_PI})

#define COORDS_VITRINE_B1 ((pos2_t){ \
        .x = 1500.0f - 345.0f, \
        .y = 2000.0f - OFFSET_WHEEL_EXTERNAL_FLAT, \
        .a = -(-1.0f/3.0f-1.0f/6.0f) * M_PI})


#define COORDS_STATUETTE ((pos2_t){ \
        .x = 1191.0f + OFFSET_WHEEL_EXTERNAL_PROJECTION, \
        .y = 251.0f + OFFSET_WHEEL_EXTERNAL_PROJECTION, \
        .a = (1.0f/2.0f-(1.0f/3.0f+1.0/6.0f+1.0f/12.0f)) * M_PI})


#endif // COORDS_H
```

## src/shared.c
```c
#include "shared.h"

#include <zephyr.h>

#include "uart_hdb/uart_hdb.h"
#include "utils.h"
#include <logging/log.h>


LOG_MODULE_REGISTER(shared);

uart_hdb_t steppers_uart_hdb;

int shared_init(void) {
    LOG_INF("shared objects init");
    int ret = 0;
    int tmp = 0;
    tmp =
        uart_hdb_init(&steppers_uart_hdb, DEVICE_DT_GET(DT_ALIAS(stepper_bus)));
    if (tmp) {
        LOG_ERR("failed to init steppers_uart_hdb");
        ret = -10;
    }
    LOG_INF("shared objects init done (ret=%d)", ret);
    return ret;
}
```

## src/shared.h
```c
#ifndef SHARED_H
#define SHARED_H

#include "utils.h"
#include "uart_hdb/uart_hdb.h"
#include "tmc2209/tmc2209.h"

// declare here every global device that is not defined by its own task

extern uart_hdb_t steppers_uart_hdb;

int shared_init(void);

#endif // SHARED_H
```

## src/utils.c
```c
#include "utils.h"

#include <math.h>
#include <zephyr.h>

#include <logging/log.h>


LOG_MODULE_REGISTER(utils);


vec2_t point2_diff(const point2_t terminal, const point2_t initial) {
    vec2_t delta = {
        .dx = terminal.x - initial.x,
        .dy = terminal.y - initial.y,
    };
    return delta;
}

float vec2_abs(vec2_t vec) {
    return sqrtf(vec.dx * vec.dx + vec.dy * vec.dy);
}

float vec2_dot(vec2_t a, vec2_t b) {
    return a.dx * b.dx + a.dy * b.dy;
}

float vec2_angle(vec2_t a, vec2_t b) {
    return acosf(vec2_dot(a, b) / (vec2_abs(a) * vec2_abs(b)));
}

float vec2_fast_abs(vec2_t vec) {
    // https://www.flipcode.com/archives/Fast_Approximate_Distance_Functions.shtml
    // https://gamedev.stackexchange.com/questions/69241/how-to-optimize-the-distance-function
    return 0.5 * (vec.dx + vec.dy + Z_MAX(vec.dx, vec.dy));
}

pos2_t pos2_diff(const pos2_t terminal, const pos2_t initial) {
    pos2_t delta = {
        .x = terminal.x - initial.x,
        .y = terminal.y - initial.y,
        .a = terminal.a - initial.a,
    };
    return delta;
}
```

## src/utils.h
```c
#ifndef UTILS_H
#define UTILS_H


#include <zephyr.h>


// needed with newlib
// https://github.com/zephyrproject-rtos/zephyr/blob/main/lib/libc/minimal/include/math.h
#define MAXFLOAT 3.40282347e+38F

#define M_E 2.7182818284590452354
#define M_LOG2E 1.4426950408889634074
#define M_LOG10E 0.43429448190325182765
#define M_LN2 0.693147180559945309417
#define M_LN10 2.30258509299404568402
#define M_PI 3.14159265358979323846
#define M_PI_2 1.57079632679489661923
#define M_PI_4 0.78539816339744830962
#define M_1_PI 0.31830988618379067154
#define M_2_PI 0.63661977236758134308
#define M_2_SQRTPI 1.12837916709551257390
#define M_SQRT2 1.41421356237309504880
#define M_SQRT1_2 0.70710678118654752440
#define M_SQRT3 1.73205080756887729352

#define LOCKVAR(_type)                                                         \
    struct {                                                                   \
        struct k_mutex lock;                                                   \
        _type val;                                                             \
    }

#define INIT_LOCKVAR(_var) k_mutex_init(&((_var).lock))

#define READ_LOCKVAR(_var, _dst, _err, _timeout)                               \
    (_err) = k_mutex_lock(&((_var).lock), (_timeout));                         \
    if (!(_err)) {                                                             \
        (_dst) = (_var).val;                                                   \
        k_mutex_unlock(&((_var).lock));                                        \
    }

#define SET_LOCKVAR(_var, _src, _err, _timeout)                                \
    (_err) = k_mutex_lock(&((_var).lock), (_timeout));                         \
    if (!(_err)) {                                                             \
        (_var).val = (_src);                                                   \
        k_mutex_unlock(&((_var).lock));                                        \
    }


typedef struct point2 {
    float x;
    float y;
} point2_t;

typedef struct vec2 {
    float dx;
    float dy;
} vec2_t;


typedef struct pos2 {
    float x;
    float y;
    float a;
} pos2_t;

typedef struct vel2 {
    float vx;
    float vy;
    float w;
} vel2_t;


vec2_t point2_diff(const point2_t terminal, const point2_t initial);
float vec2_abs(vec2_t vec);
float vec2_fast_abs(vec2_t vec);
float vec2_dot(vec2_t a, vec2_t b);
float vec2_angle(vec2_t a, vec2_t b);


pos2_t pos2_diff(const pos2_t target, const pos2_t orig);

#endif // UTILS_H
```
